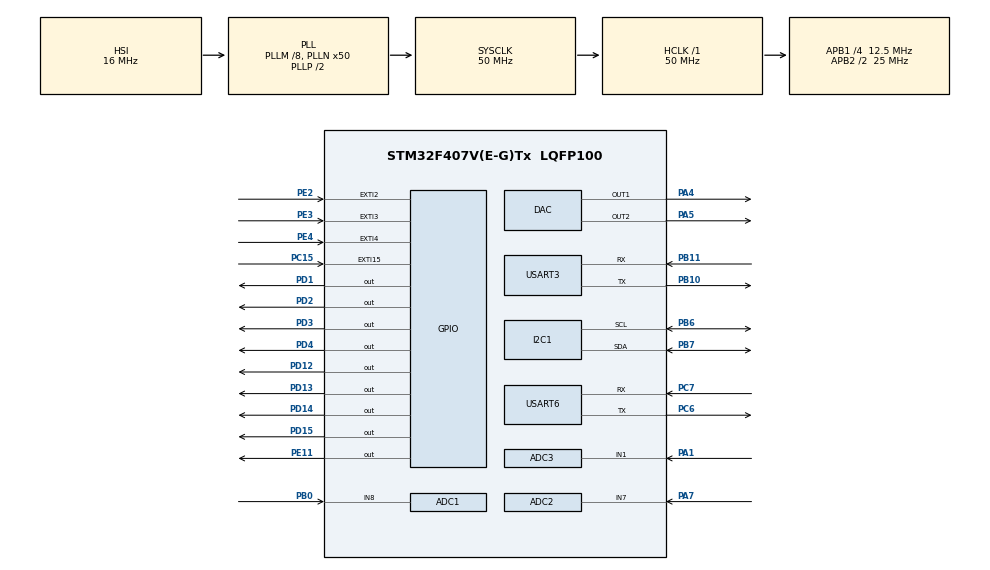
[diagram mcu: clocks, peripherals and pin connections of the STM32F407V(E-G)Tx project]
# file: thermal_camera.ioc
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ADC1.Channel-1\#ChannelRegularConversion=ADC_CHANNEL_8
ADC1.DMAContinuousRequests=ENABLE
ADC1.ExternalTrigConv=ADC_EXTERNALTRIGCONV_T2_TRGO
ADC1.NbrOfConversionFlag=1
ADC1.Rank-1\#ChannelRegularConversion=1
ADC1.SamplingTime-1\#ChannelRegularConversion=ADC_SAMPLETIME_3CYCLES
ADC1.master=1
ADC2.Channel-0\#ChannelRegularConversion=ADC_CHANNEL_7
ADC2.DMAContinuousRequests=ENABLE
ADC2.ExternalTrigConv=ADC_EXTERNALTRIGCONV_T2_TRGO
ADC2.NbrOfConversionFlag=1
ADC2.Rank-0\#ChannelRegularConversion=1
ADC2.SamplingTime-0\#ChannelRegularConversion=ADC_SAMPLETIME_3CYCLES
ADC3.Channel-0\#ChannelRegularConversion=ADC_CHANNEL_1
ADC3.ContinuousConvMode=ENABLE
ADC3.EOCSelection=ADC_EOC_SEQ_CONV
ADC3.NbrOfConversionFlag=1
ADC3.Rank-0\#ChannelRegularConversion=1
ADC3.SamplingTime-0\#ChannelRegularConversion=ADC_SAMPLETIME_3CYCLES
DAC.DAC_Trigger=DAC_TRIGGER_T2_TRGO
DAC.DAC_Trigger2=DAC_TRIGGER_T2_TRGO
Dma.ADC1.5.Direction=DMA_PERIPH_TO_MEMORY
Dma.ADC1.5.FIFOMode=DMA_FIFOMODE_DISABLE
Dma.ADC1.5.Instance=DMA2_Stream0
Dma.ADC1.5.MemDataAlignment=DMA_MDATAALIGN_HALFWORD
Dma.ADC1.5.MemInc=DMA_MINC_ENABLE
Dma.ADC1.5.Mode=DMA_CIRCULAR
Dma.ADC1.5.PeriphDataAlignment=DMA_PDATAALIGN_HALFWORD
Dma.ADC1.5.PeriphInc=DMA_PINC_DISABLE
Dma.ADC1.5.Priority=DMA_PRIORITY_LOW
Dma.ADC2.1.Direction=DMA_PERIPH_TO_MEMORY
Dma.ADC2.1.FIFOMode=DMA_FIFOMODE_DISABLE
Dma.ADC2.1.Instance=DMA2_Stream2
Dma.ADC2.1.MemDataAlignment=DMA_MDATAALIGN_HALFWORD
Dma.ADC2.1.MemInc=DMA_MINC_ENABLE
Dma.ADC2.1.Mode=DMA_CIRCULAR
Dma.ADC2.1.PeriphDataAlignment=DMA_PDATAALIGN_HALFWORD
Dma.ADC2.1.PeriphInc=DMA_PINC_DISABLE
Dma.ADC2.1.Priority=DMA_PRIORITY_LOW
Dma.DAC1.2.Direction=DMA_MEMORY_TO_PERIPH
Dma.DAC1.2.FIFOMode=DMA_FIFOMODE_DISABLE
Dma.DAC1.2.Instance=DMA1_Stream5
Dma.DAC1.2.MemDataAlignment=DMA_MDATAALIGN_HALFWORD
Dma.DAC1.2.MemInc=DMA_MINC_ENABLE
Dma.DAC1.2.Mode=DMA_CIRCULAR
Dma.DAC1.2.PeriphDataAlignment=DMA_PDATAALIGN_HALFWORD
Dma.DAC1.2.PeriphInc=DMA_PINC_DISABLE
Dma.DAC1.2.Priority=DMA_PRIORITY_LOW
Dma.DAC2.3.Direction=DMA_MEMORY_TO_PERIPH
Dma.DAC2.3.FIFOMode=DMA_FIFOMODE_DISABLE
Dma.DAC2.3.Instance=DMA1_Stream6
Dma.DAC2.3.MemDataAlignment=DMA_MDATAALIGN_HALFWORD
Dma.DAC2.3.MemInc=DMA_MINC_ENABLE
Dma.DAC2.3.Mode=DMA_CIRCULAR
Dma.DAC2.3.PeriphDataAlignment=DMA_PDATAALIGN_HALFWORD
Dma.DAC2.3.PeriphInc=DMA_PINC_DISABLE
Dma.DAC2.3.Priority=DMA_PRIORITY_LOW
Dma.I2C1_RX.0.Direction=DMA_PERIPH_TO_MEMORY
Dma.I2C1_RX.0.FIFOMode=DMA_FIFOMODE_DISABLE
Dma.I2C1_RX.0.Instance=DMA1_Stream0
Dma.I2C1_RX.0.MemDataAlignment=DMA_MDATAALIGN_BYTE
Dma.I2C1_RX.0.MemInc=DMA_MINC_ENABLE
Dma.I2C1_RX.0.Mode=DMA_NORMAL
Dma.I2C1_RX.0.PeriphDataAlignment=DMA_PDATAALIGN_BYTE
Dma.I2C1_RX.0.PeriphInc=DMA_PINC_DISABLE
Dma.I2C1_RX.0.Priority=DMA_PRIORITY_LOW
Dma.Request0=I2C1_RX
Dma.Request1=ADC2
Dma.Request2=DAC1
Dma.Request3=DAC2
Dma.Request4=USART3_TX
Dma.Request5=ADC1
Dma.Request6=USART6_TX
Dma.USART3_TX.4.Direction=DMA_MEMORY_TO_PERIPH
Dma.USART3_TX.4.FIFOMode=DMA_FIFOMODE_DISABLE
Dma.USART3_TX.4.Instance=DMA1_Stream3
Dma.USART3_TX.4.MemDataAlignment=DMA_MDATAALIGN_BYTE
Dma.USART3_TX.4.MemInc=DMA_MINC_ENABLE
Dma.USART3_TX.4.Mode=DMA_NORMAL
Dma.USART3_TX.4.PeriphDataAlignment=DMA_PDATAALIGN_BYTE
Dma.USART3_TX.4.PeriphInc=DMA_PINC_DISABLE
Dma.USART3_TX.4.Priority=DMA_PRIORITY_LOW
Dma.USART6_TX.6.Direction=DMA_MEMORY_TO_PERIPH
Dma.USART6_TX.6.FIFOMode=DMA_FIFOMODE_DISABLE
Dma.USART6_TX.6.Instance=DMA2_Stream6
Dma.USART6_TX.6.MemDataAlignment=DMA_MDATAALIGN_BYTE
Dma.USART6_TX.6.MemInc=DMA_MINC_ENABLE
Dma.USART6_TX.6.Mode=DMA_NORMAL
Dma.USART6_TX.6.PeriphDataAlignment=DMA_PDATAALIGN_BYTE
Dma.USART6_TX.6.PeriphInc=DMA_PINC_DISABLE
Dma.USART6_TX.6.Priority=DMA_PRIORITY_LOW
I2C1.I2C_Mode=I2C_Fast
Mcu.Family=STM32F4
Mcu.Name=STM32F407V(E-G)Tx
Mcu.Package=LQFP100
NVIC.DMA1_Stream0_IRQn=true\:0\:0\:false\:false\:true\:false\:true\:true
NVIC.DMA1_Stream3_IRQn=true\:0\:0\:false\:false\:true\:false\:true\:true
NVIC.DMA1_Stream5_IRQn=true\:0\:0\:false\:false\:true\:false\:true\:true
NVIC.DMA1_Stream6_IRQn=true\:0\:0\:false\:false\:true\:false\:true\:true
NVIC.DMA2_Stream0_IRQn=true\:0\:0\:false\:false\:true\:false\:true\:true
NVIC.DMA2_Stream2_IRQn=true\:0\:0\:false\:false\:true\:false\:true\:true
NVIC.DMA2_Stream6_IRQn=true\:0\:0\:false\:false\:true\:false\:true\:true
NVIC.EXTI15_10_IRQn=true\:0\:0\:false\:false\:true\:true\:true\:true
NVIC.EXTI2_IRQn=true\:0\:0\:false\:false\:true\:true\:true\:true
NVIC.EXTI3_IRQn=true\:0\:0\:false\:false\:true\:true\:true\:true
NVIC.EXTI4_IRQn=true\:0\:0\:false\:false\:true\:true\:true\:true
NVIC.I2C1_EV_IRQn=true\:0\:0\:false\:false\:true\:true\:true\:true
NVIC.PriorityGroup=NVIC_PRIORITYGROUP_4
NVIC.TIM1_UP_TIM10_IRQn=true\:0\:0\:false\:false\:true\:false\:true\:true
NVIC.TIM4_IRQn=true\:1\:0\:true\:false\:true\:true\:true\:true
NVIC.TIM6_DAC_IRQn=true\:0\:0\:false\:false\:true\:true\:true\:true
NVIC.TIM7_IRQn=true\:0\:0\:true\:false\:true\:true\:true\:true
NVIC.TimeBase=TIM1_UP_TIM10_IRQn
NVIC.TimeBaseIP=TIM1
NVIC.USART3_IRQn=true\:0\:0\:false\:false\:true\:true\:true\:true
NVIC.USART6_IRQn=true\:0\:0\:false\:false\:true\:true\:true\:true
PA1.Signal=ADCx_IN1
PA4.Signal=COMP_DAC1_group
PA5.Signal=COMP_DAC2_group
PA7.Signal=ADCx_IN7
PB0.Signal=ADCx_IN8
PB10.Mode=Asynchronous
PB10.Signal=USART3_TX
PB11.Mode=Asynchronous
PB11.Signal=USART3_RX
PB6.Mode=I2C
PB6.Signal=I2C1_SCL
PB7.Mode=I2C
PB7.Signal=I2C1_SDA
PC15-OSC32_OUT.GPIO_ModeDefaultEXTI=GPIO_MODE_IT_FALLING
PC15-OSC32_OUT.Signal=GPXTI15
PC6.Mode=Asynchronous
PC6.Signal=USART6_TX
PC7.Mode=Asynchronous
PC7.Signal=USART6_RX
PD1.Signal=GPIO_Output
PD12.Signal=GPIO_Output
PD13.Signal=GPIO_Output
PD14.Signal=GPIO_Output
PD15.Signal=GPIO_Output
PD2.Signal=GPIO_Output
PD3.Signal=GPIO_Output
PD4.Signal=GPIO_Output
PE11.Signal=GPIO_Output
PE2.GPIO_PuPd=GPIO_PULLDOWN
PE2.Signal=GPXTI2
PE3.GPIO_PuPd=GPIO_PULLDOWN
PE3.Signal=GPXTI3
PE4.GPIO_PuPd=GPIO_PULLDOWN
PE4.Signal=GPXTI4
ProjectManager.HeapSize=0x200
ProjectManager.StackSize=0x400
ProjectManager.TargetToolchain=STM32CubeIDE
RCC.48MHZClocksFreq_Value=14285714.285714285
RCC.AHBFreq_Value=50000000
RCC.APB1CLKDivider=RCC_HCLK_DIV4
RCC.APB1Freq_Value=12500000
RCC.APB1TimFreq_Value=25000000
RCC.APB2CLKDivider=RCC_HCLK_DIV2
RCC.APB2Freq_Value=25000000
RCC.APB2TimFreq_Value=50000000
RCC.CortexFreq_Value=50000000
RCC.HCLKFreq_Value=50000000
RCC.HSE_VALUE=8000000
RCC.HSI_VALUE=16000000
RCC.LSE_VALUE=32768
RCC.PLLM=8
RCC.PLLN=50
RCC.PLLQ=7
RCC.SYSCLKFreq_VALUE=50000000
RCC.SYSCLKSource=RCC_SYSCLKSOURCE_PLLCLK
RCC.VCOOutputFreq_Value=100000000
SH.ADCx_IN1.0=ADC3_IN1,IN1
SH.ADCx_IN7.0=ADC2_IN7,IN7
SH.ADCx_IN8.0=ADC1_IN8,IN8
SH.COMP_DAC1_group.0=DAC_OUT1,DAC_OUT1
SH.COMP_DAC2_group.0=DAC_OUT2,DAC_OUT2
TIM10.Period=2499
TIM10.Prescaler=99
TIM2.AutoReloadPreload=TIM_AUTORELOAD_PRELOAD_ENABLE
TIM2.Period=255
TIM2.Prescaler=1
TIM2.TIM_MasterOutputTrigger=TIM_TRGO_UPDATE
TIM4.AutoReloadPreload=TIM_AUTORELOAD_PRELOAD_ENABLE
TIM4.Period=599
TIM4.Prescaler=99
TIM6.AutoReloadPreload=TIM_AUTORELOAD_PRELOAD_DISABLE
TIM6.Prescaler=9
TIM7.AutoReloadPreload=TIM_AUTORELOAD_PRELOAD_ENABLE
TIM7.Period=62499
TIM7.Prescaler=0
USART3.VirtualMode=VM_ASYNC
USART3.WordLength=WORDLENGTH_8B
USART6.VirtualMode=VM_ASYNC
VP_SYS_VS_tim1.Mode=TIM1
VP_TIM10_VS_ClockSourceINT.Mode=Enable_Timer
VP_TIM2_VS_ClockSourceINT.Mode=Internal
VP_TIM4_VS_ClockSourceINT.Mode=Internal
VP_TIM6_VS_ClockSourceINT.Mode=Enable_Timer
VP_TIM7_VS_ClockSourceINT.Mode=Enable_Timer
board=STM32F407G-DISC1

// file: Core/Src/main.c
/* USER CODE BEGIN Header */
/**
  ******************************************************************************
  * @file           : main.c
  * @brief          : Main program body
  ******************************************************************************
  * @attention
  *
  * <h2><center>&copy; Copyright (c) 2022 STMicroelectronics.
  * All rights reserved.</center></h2>
  *
  * This software component is licensed by ST under Ultimate Liberty license
  * SLA0044, the "License"; You may not use this file except in compliance with
  * the License. You may obtain a copy of the License at:
  *                             www.st.com/SLA0044
  *
  ******************************************************************************
  */
/* USER CODE END Header */
#include "main.h"

/* USER CODE BEGIN Includes */
#include "AMG8833.h"
#include "Step.h"
#include "Jstick.h"
#include <string.h>
#include <stdio.h>
#include <math.h>
/* USER CODE END Includes */

/* USER CODE BEGIN PD */
#define BIT_BAND_ALIAS_REGION_BASE 0x22000000
#define BIT_BAND_ADDR(offset,bit) (BIT_BAND_ALIAS_REGION_BASE + offset*32 + bit*4)

/*Thermal camera FSM (based on amg8833 chip) control byte offset in bit band region*/
#define AMG_CTRL_OSET 0x0
/*Control bits*/
#define AMG_RD_START  (*(volatile uint32_t*)BIT_BAND_ADDR(AMG_CTRL_OSET,0x7))//amg read start flag
#define AMG_RD_CPLT (*(volatile uint32_t*)BIT_BAND_ADDR(AMG_CTRL_OSET,0x6))//amg read complete
#define AMG_OUT_CPLT (*(volatile uint32_t*)BIT_BAND_ADDR(AMG_CTRL_OSET,0x5))//amg output (through uart) complete. Ready for another read
#define AMG_TARGET_DET (*(volatile uint32_t*)BIT_BAND_ADDR(AMG_CTRL_OSET,0x4))//amg interrupt read flag

/*Motor control byte offset in bit band region*/
#define MOTOR_CTRL_OSET 0x1
#define MOTOR_MV (*(volatile uint32_t*)BIT_BAND_ADDR(MOTOR_CTRL_OSET,0x7))

/*Audio control byte offset in bit band region*/
#define AUDIO_CTRL_OSET 0x2
#define BUF1_CPLT (*(volatile uint32_t*)BIT_BAND_ADDR(AUDIO_CTRL_OSET,0x7))
#define BUF2_CPLT (*(volatile uint32_t*)BIT_BAND_ADDR(AUDIO_CTRL_OSET,0x6))

/*Push buttons control byte offset in bit band region*/
#define EXTI_BUT_CTRL_OSET 0x3
#define EXTI_BUT_PUSH (*(volatile uint32_t*)BIT_BAND_ADDR(EXTI_BUT_CTRL_OSET,0x7))

#define MODE_TOGGLE (*(volatile uint32_t*)BIT_BAND_ADDR(EXTI_BUT_CTRL_OSET,0x6))
#define LEFT_BUT_PUSH (*(volatile uint32_t*)BIT_BAND_ADDR(EXTI_BUT_CTRL_OSET,0x5))
#define RIGHT_BUT_PUSH (*(volatile uint32_t*)BIT_BAND_ADDR(EXTI_BUT_CTRL_OSET,0x4))

/*Audio buffer size*/
/*Half of the audio buffer is filled by the main playback and process loop*/
#define AUDIO_BUF_SZ 512
/*Used by the DMA as unit of transfer*/
#define AUDIO_TOT_BUF_SZ (AUDIO_BUF_SZ * 2)

/*Number of last mean values are considered to compute a stable estimate of DC offset*/
#define DC_BUF_SZ 100
/*
 * Number of frame buffers over threshold that trigger sound source localization
 */
#define BUF_OVR_THR 2

/*
 * CROSS-CORRELATION FEATURE CURRENTLY UNUSED
 */
/*Distance between microphones in meters*/
#define MIC_DIST 0.1
/*Sound travel speed expressed in m/s*/
#define V_SOUND 343
/*Sample frequency of audio signal: timer 2 update event frequency*/
#define FS (int)( 25000000 / ( 255 * 2 ))
/*Maximum delay between signals according to the Sound Source Localization model*/
#define MAX_DELAY (int)( FS * MIC_DIST / V_SOUND)
/*
 * Cross-correlation buffer multiplying factor.
 * Tells how many times cross-correlation buffer is bigger than input audio buffer.
 */
#define XCOR_BUF_MULT 3
/*Cross-correlation result array size*/
#define XCOR_BUF_SZ ( AUDIO_BUF_SZ*XCOR_BUF_MULT )

/*
 * Debug macros
 * remove comments to debug single components
 */
//#define DAC_DEBUG 1
//#define DEBUG_LOG 1
/*
 * Time measurements macros
 * If one of this is set, PE11 pin output can be read with the oscilloscope to
 */
//#define TIME_PREPROC 1
//#define TIME_CONV_CH1 1
//#define TIME_CONV_CH2 1
//#deinfe TIME_XCOR 1
//#define TIME_VIDEO_STREAM 1
//#define TIME_AUDIO_STREAM 1
/*
* Set oscilloscope timer trigger
*/
#define CHRONO_START() GPIOE->ODR|=GPIO_PIN_11
/*
* Reset oscilloscope timer trigger
*/
#define CHRONO_STOP() GPIOE->ODR&=~GPIO_PIN_11

/* USER CODE END PD */

 ADC_HandleTypeDef hadc1;
ADC_HandleTypeDef hadc2;
ADC_HandleTypeDef hadc3;
DMA_HandleTypeDef hdma_adc1;
DMA_HandleTypeDef hdma_adc2;

DAC_HandleTypeDef hdac;
DMA_HandleTypeDef hdma_dac1;
DMA_HandleTypeDef hdma_dac2;

I2C_HandleTypeDef hi2c1;
DMA_HandleTypeDef hdma_i2c1_rx;

TIM_HandleTypeDef htim2;
TIM_HandleTypeDef htim4;
TIM_HandleTypeDef htim6;
TIM_HandleTypeDef htim7;
TIM_HandleTypeDef htim10;

UART_HandleTypeDef huart3;
UART_HandleTypeDef huart6;
DMA_HandleTypeDef hdma_usart3_tx;
DMA_HandleTypeDef hdma_usart6_tx;

/* USER CODE BEGIN PV */
/* Driver data structure to abstract sensors and their interactions*/

AMG8833 cam;
Step motor;
Jstick js;

char msg_buf[128];
HAL_StatusTypeDef status;

/*Thermal image buffer*/
uint8_t img_buf[AMG8833_DS];

/*
 * Audio input and output ping-pong buffers
 */
uint16_t audio_in_buf1[AUDIO_TOT_BUF_SZ];
uint16_t audio_out_buf1[AUDIO_TOT_BUF_SZ];

uint16_t audio_in_buf2[AUDIO_TOT_BUF_SZ];
uint16_t audio_out_buf2[AUDIO_TOT_BUF_SZ];

/*
 * Audio buffer pointers switched by the ISR relative to DMA transfer
 */
volatile uint16_t *audio_in_ptr1;
volatile uint16_t *audio_out_ptr1;

volatile uint16_t *audio_in_ptr2;
volatile uint16_t *audio_out_ptr2;

/*
 * DC offset buffer to compute a stable estimate of DC offset of the two channels.
 * DC offset must be removed in order to have a zero mean signals to compute RMS etc...
 * This buffer will store the last DC_OSET_BUF_SZ mean values computed on input buffers channel 1-2
 */
uint16_t dc_buf_ch1[DC_BUF_SZ];
uint16_t dc_buf_ch2[DC_BUF_SZ];
uint16_t dc_buf_idx;

/*
 * Every time RMS of both input buffers happen to be above the threshold this counter is incremented(max 3).
 * Else will be reset to 0
 */
uint8_t ovr_thr_cnt;

/*
 * RMS above this threshold to trigger SSL event
 */
uint16_t threshold;
/*Mode bit set by the main loop*/
uint8_t mode;

/* CROSS-CORRELATION FEATURE CURRENTLY UNUSED
 * Cross-correlation buffers.
 * These buffers will contain audio samples without DC offset
 */

int xcor_buf1[ XCOR_BUF_SZ ];
int xcor_buf2[ XCOR_BUF_SZ ];
char xcor_res_str[1024];
/*
 * Cross-correlation buffer offset.
 * This counter is incremented xcor_buf_oset=( xcor_buf_idx+1 ) % XCOR_BUF_MULT.
 * Remind that XCOR_BUF_SZ = AUDIO_BUF_SZ * XCOR_BUF_MULT
 */
uint8_t xcor_buf_oset;

/* USER CODE END PV */

void SystemClock_Config(void);
static void MX_GPIO_Init(void);
static void MX_TIM6_Init(void);
static void MX_DMA_Init(void);
static void MX_I2C1_Init(void);
static void MX_ADC3_Init(void);
static void MX_ADC1_Init(void);
static void MX_DAC_Init(void);
static void MX_TIM2_Init(void);
static void MX_ADC2_Init(void);
static void MX_USART3_UART_Init(void);
static void MX_TIM7_Init(void);
static void MX_USART6_UART_Init(void);
static void MX_TIM10_Init(void);
static void MX_TIM4_Init(void);

/* USER CODE BEGIN 0 */

#ifdef DAC_DEBUG
	uint16_t square_wv[AUDIO_TOT_BUF_SZ];

	//Test DAC channels reproducing a square wave
	void testDAC(){
		for(int i=0; i<AUDIO_TOT_BUF_SZ; i++){
			if(i>AUDIO_BUF_SZ)
				square_wv[i]=0;
			else
				square_wv[i]=2048;
		}
		HAL_TIM_Base_Start_IT(&htim2);
		HAL_DAC_Start_DMA(&hdac,DAC_CHANNEL_1,(uint32_t*)square_wv,AUDIO_TOT_BUF_SZ,DAC_ALIGN_12B_R);
		HAL_DAC_Start_DMA(&hdac,DAC_CHANNEL_2,(uint32_t*)square_wv,AUDIO_TOT_BUF_SZ,DAC_ALIGN_12B_R);
		while(1){
			__NOP();
		}
	}
#endif

/*
 * Handler for thermal image DMA memory transfer cplt interrupt
 * Thermal image reading is now complete
 */
void HAL_I2C_MemRxCpltCallback(I2C_HandleTypeDef *hi2c){
	if(hi2c->Instance == I2C1){
		AMG_RD_CPLT=1;
	}
}

/*
 * Handler for thermal image DMA memory transfer cplt interrupt
 * Thermal image output is now complete
 */
void HAL_UART_TxCpltCallback(UART_HandleTypeDef *huart){
	if(huart->Instance == USART3){
		AMG_OUT_CPLT=1;
	}
}

/* Thermal image Finite State Machine
 * Based on bits set by ISR associated with thermal image I/O events.
 * Image flows from AMG sensor to UART interface
 * Timer 6 ISR
 * 		AMG_OUT_CPLT ==> AMG_RD_START
 * DMA1 Stream 0 (Thermal image I2C Rx) Rx Cplt ISR
 * 		AMG_RD_START ==> AMG_RD_CPLT
 * DMA1 Stream 6 (Thermal image USART2 Tx) Tx Cplt ISR
 * 		AMG_RD_CPLT ==> AMG_OUT_CPLT
 *
 */
void thermalImgFSM(){
	  /*
	   * Thermal camera FSM
	   */
	  //If timer6 has expired
	  if(AMG_RD_START){

		  //Command DMA transfer from amg8833
		status=amg8833ReadDMA( &cam,img_buf, 1 );
		if(status==HAL_OK){
			//Clear ctrl read start bit
			AMG_RD_START=0;
#ifdef TIME_VIDEO_STREAM
			CHRONO_START();
#endif
		}
	  }

	  //If DMA image reading was successful
	  if(AMG_RD_CPLT){
		 //Command DMA transfer to uart2
		 status=HAL_UART_Transmit_DMA(&huart3,img_buf,AMG8833_DS);
		 if(status==HAL_OK){
			 AMG_RD_CPLT=0;
		 }
	  }
	  //if latest data were consumed in output, restart timer6
	  if(AMG_OUT_CPLT){
		  AMG_OUT_CPLT=0;
		  HAL_TIM_Base_Start_IT(&htim6);

#ifdef TIME_VIDEO_STREAM
			CHRONO_STOP();
#endif
	  }
}

/*
 * Handler for audio input DMA memory transfer half-cplt interrupt
 * AUDIO_BUF_SZ sample were converted and put into audio_in_buf.
 * Data can be moved by main application from lower audio_in_buf to higher audio_out_buf
 */

void HAL_ADC_ConvHalfCpltCallback(ADC_HandleTypeDef *hadc){
	if(hadc->Instance==ADC1){

#ifdef TIME_CONV_CH1
		CHRONO_START();
#endif
		audio_in_ptr1=&audio_in_buf1[0];
		audio_out_ptr1=&audio_out_buf1[0];
		BUF1_CPLT=1;
	}

	if(hadc->Instance==ADC2){

#ifdef TIME_CONV_CH2
		CHRONO_START();
#endif
		audio_in_ptr2=&audio_in_buf2[0];
		audio_out_ptr2=&audio_out_buf2[0];
		BUF2_CPLT=1;
	}
}

/*
 * Handler for audio input DMA memory transfer half-cplt interrupt
 * AUDIO_TOT_BUF_SZ sample were taken from audio out buf and fed into DAC.
 * Data can be moved by main application from higher audio_in_buf to lower audio_out_buf
 */
void HAL_DAC_ConvCpltCallbackCh1(DAC_HandleTypeDef *hdac){

#ifdef TIME_CONV_CH1
	CHRONO_STOP();
#endif
	audio_in_ptr1=&audio_in_buf1[AUDIO_BUF_SZ];
	audio_out_ptr1=&audio_out_buf1[AUDIO_BUF_SZ];
	BUF1_CPLT=1;
}

void HAL_DACEx_ConvCpltCallbackCh2(DAC_HandleTypeDef *hdac){

#ifdef TIME_CONV_CH2
	CHRONO_STOP();
#endif
	audio_in_ptr2=&audio_in_buf2[AUDIO_BUF_SZ];
	audio_out_ptr2=&audio_out_buf2[AUDIO_BUF_SZ];
	BUF2_CPLT=1;
}

/*
 * Audio playback process.
 * Transfer audio samples from input buffer to output buffer using pointers set by ISR (ping-pong buffers).
 * Used by main application during calibration mode
 */

void audioPlayback(){

	uint32_t mean1,mean2;

	/*If channel 1 and 2 conversion was completed*/
	if(BUF1_CPLT && BUF2_CPLT){
		BUF1_CPLT=0;
		BUF2_CPLT=0;

#ifdef TIME_AUDIO_STREAM
			CHRONO_START();
#endif

		/*Transfer samples from input to output buffers*/
		for(int i=0;i<AUDIO_BUF_SZ;i++){
			/*
			 * Compute mean value in buffers 1 and 2
			 */
			mean1+=audio_in_ptr1[i];
			mean2+=audio_in_ptr2[i];

			audio_out_ptr1[i]=audio_in_ptr1[i];
			audio_out_ptr2[i]=audio_in_ptr2[i];

		}
		/*
		 * Enqueue last mean value computed and increment DC buffer pointer
		 */
		dc_buf_ch1[dc_buf_idx]=(uint16_t)( mean1/AUDIO_BUF_SZ );
		dc_buf_ch2[dc_buf_idx]=(uint16_t)( mean2/AUDIO_BUF_SZ );

		dc_buf_idx=( dc_buf_idx + 1 ) % DC_BUF_SZ;

#ifdef TIME_AUDIO_STREAM
			CHRONO_STOP();
#endif
	}

}

/*
 * Audio preprocessing.
 * Transfer audio samples from input buffer to output buffer using pointers set by ISR (ping-pong buffers).
 * DC offset is removed from every sample and threshold overflow is computed.
 * Used by main application during SSL mode
 */
void audioPreproc(){
	uint32_t mean1,mean2;
	uint32_t dc1,dc2;
	float rms1,rms2;

	/*
	 * Preproc loop will set rms values of last buf1 and buf2 to trigger cross-correlation
	 */

	/*If channel 1 and 2 conversion was completed*/
	if(BUF1_CPLT && BUF2_CPLT){

#ifdef 	TIME_PREPROC
		CHRONO_START();
#endif
		BUF1_CPLT=0;
		BUF2_CPLT=0;

		mean1=0;
		mean2=0;

		dc1=0;
		dc2=0;

		rms1=0;
		rms2=0;

		/*
		 * Transfer samples from input to cross-correlation buffers
		 */
		for( int i=0 ; i<AUDIO_BUF_SZ || i<DC_BUF_SZ ; i++ ){

			/*
			 * Compute the mean value of input buffers 1 and 2
			 */
			if(i<AUDIO_BUF_SZ){
				mean1+=audio_in_ptr1[i];
				mean2+=audio_in_ptr2[i];

				/*
				 * Fill the DAC buffer
				 */
				audio_out_ptr1[i]=audio_in_ptr1[i];
				audio_out_ptr2[i]=audio_in_ptr2[i];
			}
			/*
			 * Compute estimate of DC offset based on the last DC_BUF_SZ mean values computed in buffers
			 */
			if(i<DC_BUF_SZ){
				dc1+=dc_buf_ch1[dc_buf_idx];
				dc2+=dc_buf_ch2[dc_buf_idx];
			}

		}

		/*
		 * Enqueue current mean value of input buffer in dc buffer
		 */
		dc_buf_ch1[dc_buf_idx]=(uint16_t)( mean1/AUDIO_BUF_SZ );
		dc_buf_ch2[dc_buf_idx]=(uint16_t)( mean2/AUDIO_BUF_SZ );

		dc1/=DC_BUF_SZ;
		dc2/=DC_BUF_SZ;

		/*
		 * Subtract DC offset to have 0 mean signal in cross-correlation buffer.
		 * Compute RMS of signals in ch1-2 input buffers
		 */

		for(int i=0,idx;i<AUDIO_BUF_SZ;i++){

			idx=xcor_buf_oset * AUDIO_BUF_SZ + i;
			/*
			 * CROSS-CORRELATION FEATURE CURRENTLY UNUSED
			 */
			xcor_buf1[idx]=audio_in_ptr1[i] - dc1;
			xcor_buf2[idx]=audio_in_ptr2[i] - dc2;

			rms1+=( xcor_buf1[idx] * xcor_buf1[idx] ) / AUDIO_BUF_SZ;
			rms2+=( xcor_buf2[idx] * xcor_buf2[idx] ) / AUDIO_BUF_SZ;

		}

		rms1=sqrt(rms1);
		rms2=sqrt(rms2);

#ifdef TIME_PREPROC
		CHRONO_STOP();
#endif

		/*
		 * If any of the input buffers has RMS under threshold
		 */
		if(rms1>threshold && rms2>threshold){

#ifdef DEBUG_LOG
			sprintf(msg_buf,"\r\nrms1:%d\r\nrms2:%d\r\nthreshold:%dratio:%f\r\n"
					,(int)rms1,(int)rms2,threshold, (float)rms1/(float)rms2 );
			HAL_UART_Transmit(&huart6,(uint8_t*)msg_buf,strlen(msg_buf),20);
#endif

			/*Increment over threshold counter up to 3*/
			if(ovr_thr_cnt<BUF_OVR_THR)
				ovr_thr_cnt++;
		}
		else{
			ovr_thr_cnt=0;
		}

		/*
		 * Update cross-correlation circular buffer offset
		 * XCOR_BUF_SZ = AUDIO_BUF_SZ * XCOR_BUF_MULT
		 */
		xcor_buf_oset=( xcor_buf_oset + 1 ) % XCOR_BUF_MULT;

		/*
		 * Update DC buffer offset idx
		 */
		dc_buf_idx=( dc_buf_idx + 1 ) % DC_BUF_SZ;

	}
}

/*
 * Callback function to manage external interrupt push buttons pushed
 */
void HAL_GPIO_EXTI_Callback(uint16_t GPIO_PIN){
	/*
	 * Manage interrupt on exti line from AMG8833 sensor
	 */
	if( GPIO_PIN == GPIO_PIN_15 ){

		AMG_TARGET_DET=1;
		stop( &motor );
	}
	/*
	 * Other exti lines interrupts come from push buttons: GPIO_PIN_2/3/4
	 */
	else if( !EXTI_BUT_PUSH  ){
		EXTI_BUT_PUSH=1;
		//Start debounce timer: interrupt after 50 ms
		HAL_TIM_Base_Start_IT(&htim10);
	}
}

/*
 * Manage audio/video streaming while searching a target towards a destination
 * expressed in angle degree
 */
void searchWhilePlay(float angle){
	 /*
	  * Move to the right limit
	  */
	 moveToIt( &motor,angle );

	 /*
	  * While motor is in motion
	  */
	 while( motor.move_lock ){

		 audioPreproc();
		 thermalImgFSM();
	 }

}
void targetDetect(){
	  /*
	   * Set absolute value value threshold to detect hot objects
	   * Test it with this threshold by making noise and light on a lighter
	   * Adjust threshold to 28° detect a human in a room at approximately 20°
	   */
	  amg8833SetAbsHighThrs( &cam,(uint16_t)( 37.0/0.25 ),2 );
	  /*
	   * Set absolute threshold interrupt mode
	   */
	  amg8833SetIntMode( &cam,1,2 );
	  /*
	   * Enable interrupt on amg8833
	   */
	  amg8833IntEn( &cam,3 );
	  /*
	   * Reset interrupt flag
	   */
	  AMG_TARGET_DET=0;

	 /*
	  * Pan with the camera and stop the movement if amg8833 triggers interrupt on exti line (i.e. target detected)
	  */
	 if( motor.ang_idx > 0 ){
		 /*
		  * Move to the right limit and stop if target is detected
		  */
		 searchWhilePlay( -80.0 );
		 /*
		  * If no target was detected
		  */
		 if(!AMG_TARGET_DET){
			 /*
			  * Move to the left limit and stop if target is detected
			  */
			 searchWhilePlay( 80.0 );
		 }
	 }
	 else{
		 searchWhilePlay( 80.0 );

		 if(!AMG_TARGET_DET){
			 searchWhilePlay( -80.0 );
		 }
	 }
	 /*
	  * Disable amg8833 interrupt
	  */
	 amg8833IntDis( &cam,2 );

	 if( AMG_TARGET_DET ){

		 sprintf( msg_buf,"Target was detected at angle: %f\r\n", motor.ang_idx*motor.res );
		 HAL_UART_Transmit( &huart6,(uint8_t *)msg_buf,strlen(msg_buf),HAL_MAX_DELAY);
	 }

	 AMG_TARGET_DET=0;

}

/* CROSS-CORRELATION FEATURE CURRENTLY UNUSED
 * Cross correlation function.
 * In order to avoid biased values at borders cross correlation buffer size is XCOR_BUF_MULT*AUDIO_BUF_SZ
 */
void xcor(){

#ifdef TIME_XCOR
	CHRONO_START();
#endif

	/*
	 * Compute index of the center i.e. segment of size AUDIO_BUF_SZ cross correlated between buf1 and buf2.
	 */
	uint8_t center_oset=xcor_buf_oset > 0 ? xcor_buf_oset-1 : 2;
	//uint8_t center_oset=xcor_buf_oset;
	//uint8_t shifted_oset_buf2=center_oset_buf1 > 0 ? center_oset_buf1-1 : 2;

	int buf1_idx=center_oset * AUDIO_BUF_SZ;
	int buf2_idx;

	float max=-1.0;
	int max_idx=0;
	//normalization factor
	float abs1,abs2;
	float mean1,mean2;
	float r;

	char str[32];
	xcor_res_str[0]='\0';

	for(int i=-MAX_DELAY;i<=MAX_DELAY;i++){

		mean1=0;
		mean2=0;

		r=0;
		abs1=0;
		abs2=0;
		/*
		 * Shift buf1 centered mask on buf2
		 */
		if( buf1_idx + i >= 0 ){
			buf2_idx = ( buf1_idx + i ) % XCOR_BUF_SZ;
		}
		else{
			/*
			 * As long as buf1_idx + i < 0 occurs only when i is < 0 and buf1_idx is 0
			 */
			buf2_idx = XCOR_BUF_SZ + i;
		}

		for(int j=0; j<AUDIO_BUF_SZ;j++){
			mean1+=xcor_buf1[ buf1_idx + j  ];
			mean2+=xcor_buf2[ ( buf2_idx + j ) % XCOR_BUF_SZ ];
		}

		mean1/=AUDIO_BUF_SZ;
		mean2/=AUDIO_BUF_SZ;

		for(int j=0;j<AUDIO_BUF_SZ;j++){
			/*
			 * Accumulate products and normalize to avoid
			 */
			abs1+=( xcor_buf1[ buf1_idx + j ] - mean1 ) * ( xcor_buf1[ buf1_idx + j ] - mean1 );
			abs2+=( xcor_buf2[ ( buf2_idx + j ) % XCOR_BUF_SZ ] - mean2 ) * ( xcor_buf2[ ( buf2_idx + j ) % XCOR_BUF_SZ ] - mean2 );
			r+=( xcor_buf1[ buf1_idx + j ] - mean1 ) * ( xcor_buf2[ ( buf2_idx + j ) % XCOR_BUF_SZ ] - mean2 );
		}

		if( abs1<0 || abs2<0)
			GPIOD->ODR|=GPIO_PIN_13;

		r/=sqrt( abs1 * abs2 );

		if( r > max){
			max=r;
			max_idx=i;
		}

#ifdef DEBUG_LOG
		sprintf(str,"%f ",r);
		strcat(xcor_res_str,str);
		sprintf(msg_buf,"\r\n\r\nmean1:%f\r\nmean2:%f\r\nmax_del:%d\r\ni:%d\r\nxor_buf: %d\r\nbuf1_idx:%d\r\nbuf2_idx:%d\r\nval:%f\r\n",mean1,mean2,MAX_DELAY,i,XCOR_BUF_SZ,buf1_idx,buf2_idx,r);
		HAL_UART_Transmit(&huart6,(uint8_t *)msg_buf,strlen(msg_buf),HAL_MAX_DELAY);
#endif
	}

#ifdef DEBUG_LOG
	sprintf(msg_buf,"Delay which maximizes cross-correlation:%d\r\nval:%f\r\ncnt:%d\r\n",max_idx,max,ovr_thr_cnt);
	HAL_UART_Transmit(&huart6,(uint8_t *)msg_buf,strlen(msg_buf),HAL_MAX_DELAY);
	HAL_UART_Transmit(&huart6,(uint8_t *)xcor_res_str,strlen( xcor_res_str ),HAL_MAX_DELAY);
#endif

#ifdef TIME_XCOR
	CHRONO_STOP();
#endif
}

/*
 * Log debug UART interface motor position computed since the latest call to rstAngle(&motor)
 */
void logMotor(){

	sprintf(msg_buf,"Motor position: %f\r\nStep angular resolution: %f\r\nAngular index:%d \r\n\r\n\r\n",
								motor.ang_idx*motor.res,motor.res,motor.ang_idx);
	HAL_UART_Transmit_DMA(&huart6,(uint8_t*)msg_buf,strlen(msg_buf));
}

/*
 * Read joystick's position and EXTI buttons and perform one motor step according to joystick direction
 */
void motorControl(){

	JstickDir dir;

	if(MOTOR_MV){
		MOTOR_MV=0;

		dir=jstickGetDirPoll(&js);
		if(dir==LEFT || LEFT_BUT_PUSH){
			LEFT_BUT_PUSH=0;
			step(&motor,1);

#ifdef DEBUG_LOG
			logMotor();
#endif

		}
		else if(dir==RIGHT || RIGHT_BUT_PUSH){
			RIGHT_BUT_PUSH=0;
			step(&motor,0);

#ifdef DEBUG_LOG
			logMotor();
#endif
		}
	}

}

/*Functions to init calibration/sound source localization mode*/
void initCalibration(){
	GPIOD->ODR&=~GPIO_PIN_15;
}

/*
 * Initi Sound Source Localization mode
 */
void initSSL(){

	  /*Reset motor angle idx to 0 to set initial camera offset*/
	  rstAngle(&motor);
	  logMotor();
	  mode=1;

	  /*Reset xcor_buf_oset*/
	  xcor_buf_oset=0;

	  /*Reset threshold to a start value of 100*/
	  threshold=50;
	  /*Reset over threshold counter*/
	  ovr_thr_cnt=0;

	  sprintf(msg_buf,"Max delay between audio signals (in samples):%d\r\b",MAX_DELAY);
	  HAL_UART_Transmit(&huart6,(uint8_t*)msg_buf,strlen(msg_buf),HAL_MAX_DELAY);
	  /*Toggle led to notify the mode change*/
	  GPIOD->ODR|=GPIO_PIN_15;
}
/* USER CODE END 0 */

int main(void)
{

  /* MCU Configuration--------------------------------------------------------*/

  /* Reset of all peripherals, Initializes the Flash interface and the Systick. */
  HAL_Init();

  /* Configure the system clock */
  SystemClock_Config();

  /* USER CODE BEGIN SysInit */
  HAL_I2C_DeInit(&hi2c1);
  /* USER CODE END SysInit */

  /* Initialize all configured peripherals */
  MX_GPIO_Init();
  MX_TIM6_Init();
  MX_DMA_Init();
  MX_I2C1_Init();
  MX_ADC3_Init();
  MX_ADC1_Init();
  MX_DAC_Init();
  MX_TIM2_Init();
  MX_ADC2_Init();
  MX_USART3_UART_Init();
  MX_TIM7_Init();
  MX_USART6_UART_Init();
  MX_TIM10_Init();
  MX_TIM4_Init();
  /* USER CODE BEGIN 2 */

#ifdef DAC_DEBUG
  testDAC();
#endif

  /*
   * Init DMA handle data structures for thermal image in/out transfer
   */
  HAL_DMA_Init(&hdma_i2c1_rx);
  HAL_DMA_Init(&hdma_usart3_tx);

  HAL_Delay(50);

  /*Init amg8833 sensor with ad select pin connected to the ground*/
  amg8833Init(&cam,&hi2c1,0);

  /*Wait until amg8833 is ready*/
  while(!amg8833IsReady( &cam, 5 )){
	  GPIOD->ODR|=GPIO_PIN_14;
	  HAL_Delay(20);
  }

  GPIOD->ODR&=~GPIO_PIN_14;

  /*
   * Reset camera to initial condition
   */
  amg8833Reset(&cam, 3);

  HAL_Delay(50);

  /*Start Timer 6 - Update event every 0.025 s for thermal camera reading*/
  HAL_TIM_Base_Start_IT(&htim6);
  /*Start Timer 7 - Update event every 1/10 s for motor control*/
  HAL_TIM_Base_Start_IT(&htim7);

  uint16_t dc_init=2048;
  /*
   * Fill dc offset estimation with intial value
   */
  for(int i=0;i<DC_BUF_SZ;i++){
	  dc_buf_ch1[i]=dc_init;
	  dc_buf_ch2[i]=dc_init;
  }
  /*
   * Start audio clock
   */
  HAL_TIM_Base_Start_IT(&htim2);
  /*
   * Start audio DMA continous reading
   * ADC1 and DAC both works with htim2 conversion clock
   */
  HAL_ADC_Start_DMA(&hadc1,(uint32_t*)audio_in_buf1,AUDIO_TOT_BUF_SZ);
  HAL_ADC_Start_DMA(&hadc2,(uint32_t*)audio_in_buf2,AUDIO_TOT_BUF_SZ);

  /*Start DMA request to playback audio through DAC channels 1 and 2*/
  HAL_DAC_Start_DMA(&hdac,DAC_CHANNEL_1,(uint32_t*)audio_out_buf1,AUDIO_TOT_BUF_SZ,DAC_ALIGN_12B_R);
  HAL_DAC_Start_DMA(&hdac,DAC_CHANNEL_2,(uint32_t*)audio_out_buf2,AUDIO_TOT_BUF_SZ,DAC_ALIGN_12B_R);

  /*Init step motor data structure*/
  initStep(&motor,GPIO_PIN_1,GPIO_PIN_2,GPIO_PIN_3,GPIO_PIN_4,GPIOD,FULL,&htim4);

  /*Init joystick img_buf structure with yellow error pin*/
  initJstick(&js,&hadc3,GPIO_PIN_12,GPIOD);
  /*Start ADC3 associated with joystick*/
  HAL_ADC_Start(&hadc3);

  /* USER CODE END 2 */

  /* Infinite loop */
  /* USER CODE BEGIN WHILE */
  MODE_TOGGLE=0;
  mode=1;
  threshold=100;

  while (1)
  {
	  thermalImgFSM();

	  /*MODE_TOGGLE bit is set by the EXTI4 button line debounce timer TIM10*/
	  if( !MODE_TOGGLE ){
		  /*
		   * Calibration mode:
		   * -microphones AD conversion can be tested connecting an oscilloscope or an amplifier to DAC channels 1/2
		   * -camera can be moved manually using joystick and buttons to set angular offset
		   */
		  if(mode){
			  initCalibration();
			  mode=0;
		  }

		  audioPlayback();
		  motorControl();
	  }
	  else{
		  if(!mode){
			  /*
			   * Sound Source Localization mode
			   */
			  initSSL();
			  mode=1;
			  HAL_Delay( 100 );
		  }
		  /*
		   * Preprocess audio and compute RMS of audio buffers
		   */
		  audioPreproc();
		  /*
		   * If more than BUF_OVR_THR consecutive buffers were found to be over the threshold
		   * trigger hot target detection
		   */
		 if( ovr_thr_cnt >= BUF_OVR_THR ){
			 targetDetect();
		 }

	  }
    /* USER CODE END WHILE */

  }
}

void SystemClock_Config(void)
{
  RCC_OscInitTypeDef RCC_OscInitStruct = {0};
  RCC_ClkInitTypeDef RCC_ClkInitStruct = {0};

  /** Configure the main internal regulator output voltage
  */
  __HAL_RCC_PWR_CLK_ENABLE();
  __HAL_PWR_VOLTAGESCALING_CONFIG(PWR_REGULATOR_VOLTAGE_SCALE1);

  /** Initializes the RCC Oscillators according to the specified parameters
  * in the RCC_OscInitTypeDef structure.
  */
  RCC_OscInitStruct.OscillatorType = RCC_OSCILLATORTYPE_HSI;
  RCC_OscInitStruct.HSIState = RCC_HSI_ON;
  RCC_OscInitStruct.HSICalibrationValue = RCC_HSICALIBRATION_DEFAULT;
  RCC_OscInitStruct.PLL.PLLState = RCC_PLL_ON;
  RCC_OscInitStruct.PLL.PLLSource = RCC_PLLSOURCE_HSI;
  RCC_OscInitStruct.PLL.PLLM = 8;
  RCC_OscInitStruct.PLL.PLLN = 50;
  RCC_OscInitStruct.PLL.PLLP = RCC_PLLP_DIV2;
  RCC_OscInitStruct.PLL.PLLQ = 7;
  if (HAL_RCC_OscConfig(&RCC_OscInitStruct) != HAL_OK)
  {
    Error_Handler();
  }

  /** Initializes the CPU, AHB and APB buses clocks
  */
  RCC_ClkInitStruct.ClockType = RCC_CLOCKTYPE_HCLK|RCC_CLOCKTYPE_SYSCLK
                              |RCC_CLOCKTYPE_PCLK1|RCC_CLOCKTYPE_PCLK2;
  RCC_ClkInitStruct.SYSCLKSource = RCC_SYSCLKSOURCE_PLLCLK;
  RCC_ClkInitStruct.AHBCLKDivider = RCC_SYSCLK_DIV1;
  RCC_ClkInitStruct.APB1CLKDivider = RCC_HCLK_DIV4;
  RCC_ClkInitStruct.APB2CLKDivider = RCC_HCLK_DIV2;

  if (HAL_RCC_ClockConfig(&RCC_ClkInitStruct, FLASH_LATENCY_1) != HAL_OK)
  {
    Error_Handler();
  }
}

static void MX_ADC1_Init(void)
{

  ADC_ChannelConfTypeDef sConfig = {0};

  /** Configure the global features of the ADC (Clock, Resolution, Data Alignment and number of conversion)
  */
  hadc1.Instance = ADC1;
  hadc1.Init.ClockPrescaler = ADC_CLOCK_SYNC_PCLK_DIV2;
  hadc1.Init.Resolution = ADC_RESOLUTION_12B;
  hadc1.Init.ScanConvMode = DISABLE;
  hadc1.Init.ContinuousConvMode = DISABLE;
  hadc1.Init.DiscontinuousConvMode = DISABLE;
  hadc1.Init.ExternalTrigConvEdge = ADC_EXTERNALTRIGCONVEDGE_RISING;
  hadc1.Init.ExternalTrigConv = ADC_EXTERNALTRIGCONV_T2_TRGO;
  hadc1.Init.DataAlign = ADC_DATAALIGN_RIGHT;
  hadc1.Init.NbrOfConversion = 1;
  hadc1.Init.DMAContinuousRequests = ENABLE;
  hadc1.Init.EOCSelection = ADC_EOC_SINGLE_CONV;
  if (HAL_ADC_Init(&hadc1) != HAL_OK)
  {
    Error_Handler();
  }

  /** Configure for the selected ADC regular channel its corresponding rank in the sequencer and its sample time.
  */
  sConfig.Channel = ADC_CHANNEL_8;
  sConfig.Rank = 1;
  sConfig.SamplingTime = ADC_SAMPLETIME_3CYCLES;
  if (HAL_ADC_ConfigChannel(&hadc1, &sConfig) != HAL_OK)
  {
    Error_Handler();
  }

}

static void MX_ADC2_Init(void)
{

  ADC_ChannelConfTypeDef sConfig = {0};

  /** Configure the global features of the ADC (Clock, Resolution, Data Alignment and number of conversion)
  */
  hadc2.Instance = ADC2;
  hadc2.Init.ClockPrescaler = ADC_CLOCK_SYNC_PCLK_DIV2;
  hadc2.Init.Resolution = ADC_RESOLUTION_12B;
  hadc2.Init.ScanConvMode = DISABLE;
  hadc2.Init.ContinuousConvMode = DISABLE;
  hadc2.Init.DiscontinuousConvMode = DISABLE;
  hadc2.Init.ExternalTrigConvEdge = ADC_EXTERNALTRIGCONVEDGE_RISING;
  hadc2.Init.ExternalTrigConv = ADC_EXTERNALTRIGCONV_T2_TRGO;
  hadc2.Init.DataAlign = ADC_DATAALIGN_RIGHT;
  hadc2.Init.NbrOfConversion = 1;
  hadc2.Init.DMAContinuousRequests = ENABLE;
  hadc2.Init.EOCSelection = ADC_EOC_SINGLE_CONV;
  if (HAL_ADC_Init(&hadc2) != HAL_OK)
  {
    Error_Handler();
  }

  /** Configure for the selected ADC regular channel its corresponding rank in the sequencer and its sample time.
  */
  sConfig.Channel = ADC_CHANNEL_7;
  sConfig.Rank = 1;
  sConfig.SamplingTime = ADC_SAMPLETIME_3CYCLES;
  if (HAL_ADC_ConfigChannel(&hadc2, &sConfig) != HAL_OK)
  {
    Error_Handler();
  }

}

static void MX_ADC3_Init(void)
{

  ADC_ChannelConfTypeDef sConfig = {0};

  /** Configure the global features of the ADC (Clock, Resolution, Data Alignment and number of conversion)
  */
  hadc3.Instance = ADC3;
  hadc3.Init.ClockPrescaler = ADC_CLOCK_SYNC_PCLK_DIV2;
  hadc3.Init.Resolution = ADC_RESOLUTION_12B;
  hadc3.Init.ScanConvMode = DISABLE;
  hadc3.Init.ContinuousConvMode = ENABLE;
  hadc3.Init.DiscontinuousConvMode = DISABLE;
  hadc3.Init.ExternalTrigConvEdge = ADC_EXTERNALTRIGCONVEDGE_NONE;
  hadc3.Init.ExternalTrigConv = ADC_SOFTWARE_START;
  hadc3.Init.DataAlign = ADC_DATAALIGN_RIGHT;
  hadc3.Init.NbrOfConversion = 1;
  hadc3.Init.DMAContinuousRequests = DISABLE;
  hadc3.Init.EOCSelection = ADC_EOC_SEQ_CONV;
  if (HAL_ADC_Init(&hadc3) != HAL_OK)
  {
    Error_Handler();
  }

  /** Configure for the selected ADC regular channel its corresponding rank in the sequencer and its sample time.
  */
  sConfig.Channel = ADC_CHANNEL_1;
  sConfig.Rank = 1;
  sConfig.SamplingTime = ADC_SAMPLETIME_3CYCLES;
  if (HAL_ADC_ConfigChannel(&hadc3, &sConfig) != HAL_OK)
  {
    Error_Handler();
  }

}

static void MX_DAC_Init(void)
{

  DAC_ChannelConfTypeDef sConfig = {0};

  /** DAC Initialization
  */
  hdac.Instance = DAC;
  if (HAL_DAC_Init(&hdac) != HAL_OK)
  {
    Error_Handler();
  }

  /** DAC channel OUT1 config
  */
  sConfig.DAC_Trigger = DAC_TRIGGER_T2_TRGO;
  sConfig.DAC_OutputBuffer = DAC_OUTPUTBUFFER_ENABLE;
  if (HAL_DAC_ConfigChannel(&hdac, &sConfig, DAC_CHANNEL_1) != HAL_OK)
  {
    Error_Handler();
  }

  /** DAC channel OUT2 config
  */
  if (HAL_DAC_ConfigChannel(&hdac, &sConfig, DAC_CHANNEL_2) != HAL_OK)
  {
    Error_Handler();
  }

}

static void MX_I2C1_Init(void)
{

  hi2c1.Instance = I2C1;
  hi2c1.Init.ClockSpeed = 400000;
  hi2c1.Init.DutyCycle = I2C_DUTYCYCLE_2;
  hi2c1.Init.OwnAddress1 = 0;
  hi2c1.Init.AddressingMode = I2C_ADDRESSINGMODE_7BIT;
  hi2c1.Init.DualAddressMode = I2C_DUALADDRESS_DISABLE;
  hi2c1.Init.OwnAddress2 = 0;
  hi2c1.Init.GeneralCallMode = I2C_GENERALCALL_DISABLE;
  hi2c1.Init.NoStretchMode = I2C_NOSTRETCH_DISABLE;
  if (HAL_I2C_Init(&hi2c1) != HAL_OK)
  {
    Error_Handler();
  }

}

static void MX_TIM2_Init(void)
{

  TIM_ClockConfigTypeDef sClockSourceConfig = {0};
  TIM_MasterConfigTypeDef sMasterConfig = {0};

  htim2.Instance = TIM2;
  htim2.Init.Prescaler = 1;
  htim2.Init.CounterMode = TIM_COUNTERMODE_UP;
  htim2.Init.Period = 255;
  htim2.Init.ClockDivision = TIM_CLOCKDIVISION_DIV1;
  htim2.Init.AutoReloadPreload = TIM_AUTORELOAD_PRELOAD_ENABLE;
  if (HAL_TIM_Base_Init(&htim2) != HAL_OK)
  {
    Error_Handler();
  }
  sClockSourceConfig.ClockSource = TIM_CLOCKSOURCE_INTERNAL;
  if (HAL_TIM_ConfigClockSource(&htim2, &sClockSourceConfig) != HAL_OK)
  {
    Error_Handler();
  }
  sMasterConfig.MasterOutputTrigger = TIM_TRGO_UPDATE;
  sMasterConfig.MasterSlaveMode = TIM_MASTERSLAVEMODE_DISABLE;
  if (HAL_TIMEx_MasterConfigSynchronization(&htim2, &sMasterConfig) != HAL_OK)
  {
    Error_Handler();
  }

}

static void MX_TIM4_Init(void)
{

  TIM_ClockConfigTypeDef sClockSourceConfig = {0};
  TIM_MasterConfigTypeDef sMasterConfig = {0};

  htim4.Instance = TIM4;
  htim4.Init.Prescaler = 99;
  htim4.Init.CounterMode = TIM_COUNTERMODE_UP;
  htim4.Init.Period = 599;
  htim4.Init.ClockDivision = TIM_CLOCKDIVISION_DIV1;
  htim4.Init.AutoReloadPreload = TIM_AUTORELOAD_PRELOAD_ENABLE;
  if (HAL_TIM_Base_Init(&htim4) != HAL_OK)
  {
    Error_Handler();
  }
  sClockSourceConfig.ClockSource = TIM_CLOCKSOURCE_INTERNAL;
  if (HAL_TIM_ConfigClockSource(&htim4, &sClockSourceConfig) != HAL_OK)
  {
    Error_Handler();
  }
  sMasterConfig.MasterOutputTrigger = TIM_TRGO_RESET;
  sMasterConfig.MasterSlaveMode = TIM_MASTERSLAVEMODE_DISABLE;
  if (HAL_TIMEx_MasterConfigSynchronization(&htim4, &sMasterConfig) != HAL_OK)
  {
    Error_Handler();
  }

}

static void MX_TIM6_Init(void)
{

  TIM_MasterConfigTypeDef sMasterConfig = {0};

  htim6.Instance = TIM6;
  htim6.Init.Prescaler = 9;
  htim6.Init.CounterMode = TIM_COUNTERMODE_UP;
  htim6.Init.Period = 65535;
  htim6.Init.AutoReloadPreload = TIM_AUTORELOAD_PRELOAD_DISABLE;
  if (HAL_TIM_Base_Init(&htim6) != HAL_OK)
  {
    Error_Handler();
  }
  sMasterConfig.MasterOutputTrigger = TIM_TRGO_RESET;
  sMasterConfig.MasterSlaveMode = TIM_MASTERSLAVEMODE_DISABLE;
  if (HAL_TIMEx_MasterConfigSynchronization(&htim6, &sMasterConfig) != HAL_OK)
  {
    Error_Handler();
  }

}

static void MX_TIM7_Init(void)
{

  TIM_MasterConfigTypeDef sMasterConfig = {0};

  htim7.Instance = TIM7;
  htim7.Init.Prescaler = 0;
  htim7.Init.CounterMode = TIM_COUNTERMODE_UP;
  htim7.Init.Period = 62499;
  htim7.Init.AutoReloadPreload = TIM_AUTORELOAD_PRELOAD_ENABLE;
  if (HAL_TIM_Base_Init(&htim7) != HAL_OK)
  {
    Error_Handler();
  }
  sMasterConfig.MasterOutputTrigger = TIM_TRGO_RESET;
  sMasterConfig.MasterSlaveMode = TIM_MASTERSLAVEMODE_DISABLE;
  if (HAL_TIMEx_MasterConfigSynchronization(&htim7, &sMasterConfig) != HAL_OK)
  {
    Error_Handler();
  }

}

static void MX_TIM10_Init(void)
{

  htim10.Instance = TIM10;
  htim10.Init.Prescaler = 99;
  htim10.Init.CounterMode = TIM_COUNTERMODE_UP;
  htim10.Init.Period = 2499;
  htim10.Init.ClockDivision = TIM_CLOCKDIVISION_DIV1;
  htim10.Init.AutoReloadPreload = TIM_AUTORELOAD_PRELOAD_DISABLE;
  if (HAL_TIM_Base_Init(&htim10) != HAL_OK)
  {
    Error_Handler();
  }

}

static void MX_USART3_UART_Init(void)
{

  huart3.Instance = USART3;
  huart3.Init.BaudRate = 115200;
  huart3.Init.WordLength = UART_WORDLENGTH_8B;
  huart3.Init.StopBits = UART_STOPBITS_1;
  huart3.Init.Parity = UART_PARITY_NONE;
  huart3.Init.Mode = UART_MODE_TX_RX;
  huart3.Init.HwFlowCtl = UART_HWCONTROL_NONE;
  huart3.Init.OverSampling = UART_OVERSAMPLING_16;
  if (HAL_UART_Init(&huart3) != HAL_OK)
  {
    Error_Handler();
  }

}

static void MX_USART6_UART_Init(void)
{

  huart6.Instance = USART6;
  huart6.Init.BaudRate = 115200;
  huart6.Init.WordLength = UART_WORDLENGTH_8B;
  huart6.Init.StopBits = UART_STOPBITS_1;
  huart6.Init.Parity = UART_PARITY_NONE;
  huart6.Init.Mode = UART_MODE_TX_RX;
  huart6.Init.HwFlowCtl = UART_HWCONTROL_NONE;
  huart6.Init.OverSampling = UART_OVERSAMPLING_16;
  if (HAL_UART_Init(&huart6) != HAL_OK)
  {
    Error_Handler();
  }

}

static void MX_DMA_Init(void)
{

  /* DMA controller clock enable */
  __HAL_RCC_DMA1_CLK_ENABLE();
  __HAL_RCC_DMA2_CLK_ENABLE();

  /* DMA interrupt init */
  /* DMA1_Stream0_IRQn interrupt configuration */
  HAL_NVIC_SetPriority(DMA1_Stream0_IRQn, 0, 0);
  HAL_NVIC_EnableIRQ(DMA1_Stream0_IRQn);
  /* DMA1_Stream3_IRQn interrupt configuration */
  HAL_NVIC_SetPriority(DMA1_Stream3_IRQn, 0, 0);
  HAL_NVIC_EnableIRQ(DMA1_Stream3_IRQn);
  /* DMA1_Stream5_IRQn interrupt configuration */
  HAL_NVIC_SetPriority(DMA1_Stream5_IRQn, 0, 0);
  HAL_NVIC_EnableIRQ(DMA1_Stream5_IRQn);
  /* DMA1_Stream6_IRQn interrupt configuration */
  HAL_NVIC_SetPriority(DMA1_Stream6_IRQn, 0, 0);
  HAL_NVIC_EnableIRQ(DMA1_Stream6_IRQn);
  /* DMA2_Stream0_IRQn interrupt configuration */
  HAL_NVIC_SetPriority(DMA2_Stream0_IRQn, 0, 0);
  HAL_NVIC_EnableIRQ(DMA2_Stream0_IRQn);
  /* DMA2_Stream2_IRQn interrupt configuration */
  HAL_NVIC_SetPriority(DMA2_Stream2_IRQn, 0, 0);
  HAL_NVIC_EnableIRQ(DMA2_Stream2_IRQn);
  /* DMA2_Stream6_IRQn interrupt configuration */
  HAL_NVIC_SetPriority(DMA2_Stream6_IRQn, 0, 0);
  HAL_NVIC_EnableIRQ(DMA2_Stream6_IRQn);

}

static void MX_GPIO_Init(void)
{
  GPIO_InitTypeDef GPIO_InitStruct = {0};

  /* GPIO Ports Clock Enable */
  __HAL_RCC_GPIOE_CLK_ENABLE();
  __HAL_RCC_GPIOC_CLK_ENABLE();
  __HAL_RCC_GPIOA_CLK_ENABLE();
  __HAL_RCC_GPIOB_CLK_ENABLE();
  __HAL_RCC_GPIOD_CLK_ENABLE();

  /*Configure GPIO pin Output Level */
  HAL_GPIO_WritePin(GPIOE, GPIO_PIN_11, GPIO_PIN_RESET);

  /*Configure GPIO pin Output Level */
  HAL_GPIO_WritePin(GPIOD, GPIO_PIN_12|GPIO_PIN_13|GPIO_PIN_14|GPIO_PIN_15
                          |GPIO_PIN_1|GPIO_PIN_2|GPIO_PIN_3|GPIO_PIN_4, GPIO_PIN_RESET);

  /*Configure GPIO pins : PE2 PE3 PE4 */
  GPIO_InitStruct.Pin = GPIO_PIN_2|GPIO_PIN_3|GPIO_PIN_4;
  GPIO_InitStruct.Mode = GPIO_MODE_IT_RISING;
  GPIO_InitStruct.Pull = GPIO_PULLDOWN;
  HAL_GPIO_Init(GPIOE, &GPIO_InitStruct);

  /*Configure GPIO pin : PC15 */
  GPIO_InitStruct.Pin = GPIO_PIN_15;
  GPIO_InitStruct.Mode = GPIO_MODE_IT_FALLING;
  GPIO_InitStruct.Pull = GPIO_NOPULL;
  HAL_GPIO_Init(GPIOC, &GPIO_InitStruct);

  /*Configure GPIO pin : PE11 */
  GPIO_InitStruct.Pin = GPIO_PIN_11;
  GPIO_InitStruct.Mode = GPIO_MODE_OUTPUT_PP;
  GPIO_InitStruct.Pull = GPIO_NOPULL;
  GPIO_InitStruct.Speed = GPIO_SPEED_FREQ_LOW;
  HAL_GPIO_Init(GPIOE, &GPIO_InitStruct);

  /*Configure GPIO pins : PD12 PD13 PD14 PD15
                           PD1 PD2 PD3 PD4 */
  GPIO_InitStruct.Pin = GPIO_PIN_12|GPIO_PIN_13|GPIO_PIN_14|GPIO_PIN_15
                          |GPIO_PIN_1|GPIO_PIN_2|GPIO_PIN_3|GPIO_PIN_4;
  GPIO_InitStruct.Mode = GPIO_MODE_OUTPUT_PP;
  GPIO_InitStruct.Pull = GPIO_NOPULL;
  GPIO_InitStruct.Speed = GPIO_SPEED_FREQ_LOW;
  HAL_GPIO_Init(GPIOD, &GPIO_InitStruct);

  /* EXTI interrupt init*/
  HAL_NVIC_SetPriority(EXTI2_IRQn, 0, 0);
  HAL_NVIC_EnableIRQ(EXTI2_IRQn);

  HAL_NVIC_SetPriority(EXTI3_IRQn, 0, 0);
  HAL_NVIC_EnableIRQ(EXTI3_IRQn);

  HAL_NVIC_SetPriority(EXTI4_IRQn, 0, 0);
  HAL_NVIC_EnableIRQ(EXTI4_IRQn);

  HAL_NVIC_SetPriority(EXTI15_10_IRQn, 0, 0);
  HAL_NVIC_EnableIRQ(EXTI15_10_IRQn);

}

void HAL_TIM_PeriodElapsedCallback(TIM_HandleTypeDef *htim)
{
  if (htim->Instance == TIM1) {
    HAL_IncTick();
  }
  /* USER CODE BEGIN Callback 1 */
  /*
   * Step api callback: perform one step while moving to an angle in interrupt mode
   */
  else if( htim->Instance == TIM4 ){
	  stepIt(&motor);
  }
  /*
   * Time to start another I2C read of temperature matrix of AMG8833 sensor
   */
  else if( htim->Instance == TIM6 ){
	  AMG_RD_START=1;
  }
  /*
   * Read joystick and move motor in manual mode
   */
  else if( htim->Instance == TIM7 ){
	MOTOR_MV=1;
  }

  /*
   * Push buttons debounce timer started by exti line interrupt ( possible button pressure)
   */
  else if( htim->Instance == TIM10 ){

	  /*
	   * Check which button results still pressed time elapsed and set appropriate flag.
	   */
	  if( GPIOE->IDR & GPIO_PIN_2 && EXTI_BUT_PUSH  )
		  LEFT_BUT_PUSH=1;

	  else if( GPIOE->IDR & GPIO_PIN_3  && EXTI_BUT_PUSH )
		  RIGHT_BUT_PUSH=1;

	  else if( GPIOE->IDR & GPIO_PIN_4 && EXTI_BUT_PUSH )
		  /*
		   * Toggle main mode
		   */
		  MODE_TOGGLE^=1;

	  EXTI_BUT_PUSH=0;

  }

  /* USER CODE END Callback 1 */
}

void Error_Handler(void)
{
  __disable_irq();
  while (1)
  {
  }
}
